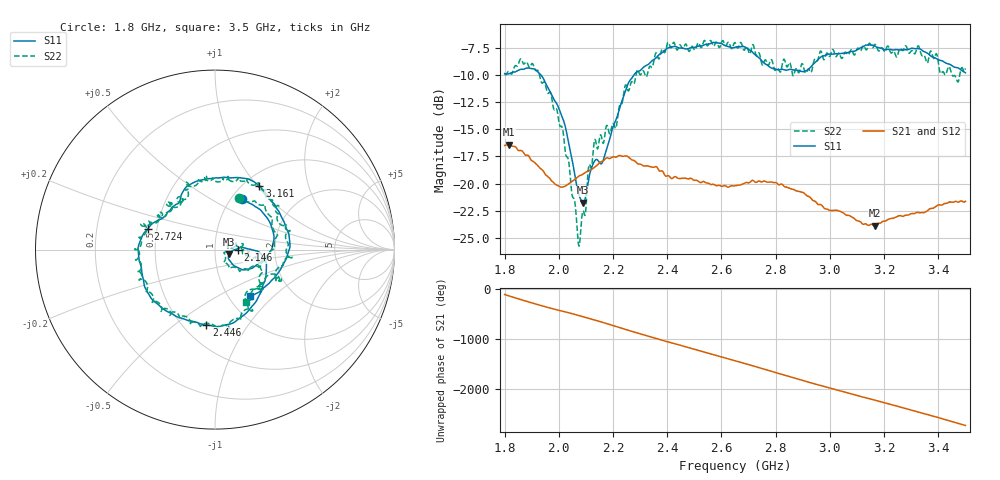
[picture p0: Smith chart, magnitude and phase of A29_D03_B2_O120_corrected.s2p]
! Created with skrf 1.9.0 (http://scikit-rf.org).
# Hz S RI R 50.0
!freq ReS11 ImS11 ReS21 ImS21 ReS12 ImS12 ReS22 ImS22
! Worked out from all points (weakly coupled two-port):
!   1601 points, 1.8 GHz to 3.5 GHz, reference 50 ohm
!   highest |S21| = -16.40 dB at 1.816 GHz (marker M1); lowest = -23.9 dB at 3.165 GHz (marker M2)
!   lowest |S11| = -21.8 dB at 2.09 GHz (marker M3), VSWR 1.18, Z = 58.4 - j2.88 ohm
!   |S11| at or under -10 dB: 1.934 GHz to 2.277 GHz (342.5 MHz wide, 16.3 % of centre)
!   |S22| runs from -25.8 to -6.8 dB; largest |S21 - S12| = 0.0026
!   S11 on the Smith chart (normalised r, x): 1.8 GHz: 1.12, +0.71; 2.146 GHz: 1.29, -0.01; 2.446 GHz: 0.65, -0.66; 2.724 GHz: 0.44, +0.12; 3.161 GHz: 1.17, +1.03; 3.5 GHz: 1.25, -0.72
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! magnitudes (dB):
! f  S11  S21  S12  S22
! 1.8 GHz  -9.9  -16.5  -16.5  -9.9
! 1.816 GHz  -9.9  -16.4  -16.4  -9.7
! 1.903 GHz  -9.4  -17.9  -17.9  -8.9
! 1.968 GHz  -11.5  -19.6  -19.6  -11.6
! 2.015 GHz  -14.0  -20.3  -20.3  -15.0
! 2.072 GHz  -20.8  -19.4  -19.4  -25.5
! 2.084 GHz  -21.6  -19.2  -19.2  -23.4
! 2.09 GHz  -21.8  -19.1  -19.2  -22.5
! 2.113 GHz  -19.2  -18.8  -18.8  -18.2
! 2.146 GHz  -17.9  -18.2  -18.2  -16.5
! 2.209 GHz  -14.2  -17.6  -17.5  -14.9
! 2.26 GHz  -10.6  -17.6  -17.6  -11.3
! 2.367 GHz  -8.2  -18.7  -18.7  -8.5
! 2.446 GHz  -7.5  -19.5  -19.5  -7.2
! 2.65 GHz  -7.4  -20.2  -20.2  -7.0
! 2.724 GHz  -8.1  -19.9  -19.8  -7.9
! 2.934 GHz  -9.1  -21.5  -21.4  -9.6
! 3.161 GHz  -7.3  -23.8  -23.8  -7.4
! 3.165 GHz  -7.3  -23.9  -23.8  -7.2
! 3.217 GHz  -7.6  -23.3  -23.2  -7.4
! 3.469 GHz  -9.3  -21.7  -21.7  -10.5
! 3.5 GHz  -9.8  -21.6  -21.6  -9.4
